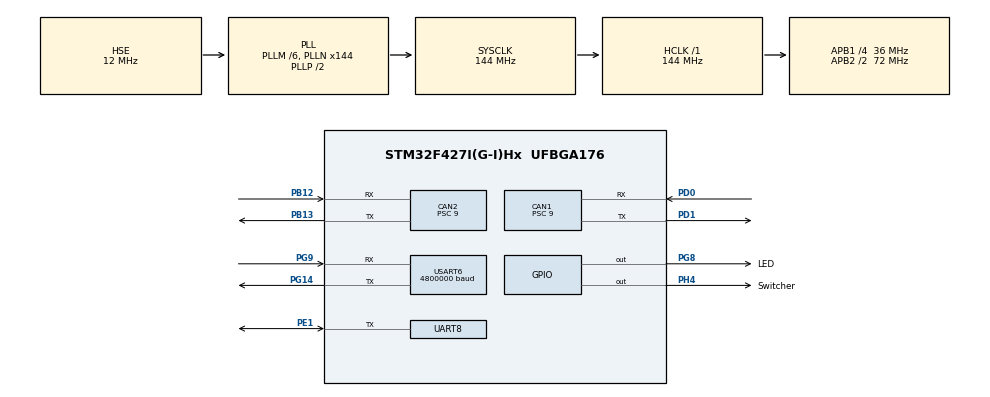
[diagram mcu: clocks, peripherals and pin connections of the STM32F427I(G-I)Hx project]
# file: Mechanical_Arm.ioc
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CAN1.BS1=CAN_BS1_2TQ
CAN1.CalculateBaudRate=1000000
CAN1.CalculateTimeBit=1000
CAN1.CalculateTimeQuantum=250.0
CAN1.Prescaler=9
CAN2.BS1=CAN_BS1_2TQ
CAN2.CalculateBaudRate=1000000
CAN2.CalculateTimeBit=1000
CAN2.CalculateTimeQuantum=250.0
CAN2.Prescaler=9
Dma.Request0=USART6_TX
Dma.Request1=USART6_RX
Dma.USART6_RX.1.Direction=DMA_PERIPH_TO_MEMORY
Dma.USART6_RX.1.FIFOMode=DMA_FIFOMODE_DISABLE
Dma.USART6_RX.1.Instance=DMA2_Stream2
Dma.USART6_RX.1.MemDataAlignment=DMA_MDATAALIGN_BYTE
Dma.USART6_RX.1.MemInc=DMA_MINC_ENABLE
Dma.USART6_RX.1.Mode=DMA_CIRCULAR
Dma.USART6_RX.1.PeriphDataAlignment=DMA_PDATAALIGN_BYTE
Dma.USART6_RX.1.PeriphInc=DMA_PINC_DISABLE
Dma.USART6_RX.1.Priority=DMA_PRIORITY_VERY_HIGH
Dma.USART6_TX.0.Direction=DMA_MEMORY_TO_PERIPH
Dma.USART6_TX.0.FIFOMode=DMA_FIFOMODE_DISABLE
Dma.USART6_TX.0.Instance=DMA2_Stream7
Dma.USART6_TX.0.MemDataAlignment=DMA_MDATAALIGN_BYTE
Dma.USART6_TX.0.MemInc=DMA_MINC_ENABLE
Dma.USART6_TX.0.Mode=DMA_NORMAL
Dma.USART6_TX.0.PeriphDataAlignment=DMA_PDATAALIGN_BYTE
Dma.USART6_TX.0.PeriphInc=DMA_PINC_DISABLE
Dma.USART6_TX.0.Priority=DMA_PRIORITY_VERY_HIGH
FREERTOS.Tasks01=defaultTask,0,128,StartDefaultTask,Default,NULL,Dynamic,NULL,NULL;Motor_Move_A1_A,2,128,Motor_Task_A1_A,Default,NULL,Dynamic,NULL,NULL;Motor_Move_A1_B,2,128,Motor_Task_A1_B,Default,NULL,Dynamic,NULL,NULL;Motor_Move_Sevo,2,128,Motor_Task_Sevo,Default,NULL,Dynamic,NULL,NULL;Motor_Move_R,-3,128,Motor_Task_R,Default,NULL,Dynamic,NULL,NULL;Switcher_Open,2,128,Switcher_Open_Task,Default,NULL,Dynamic,NULL,NULL
Mcu.Family=STM32F4
Mcu.Name=STM32F427I(G-I)Hx
Mcu.Package=UFBGA176
NVIC.CAN1_RX0_IRQn=true\:5\:0\:false\:false\:true\:true\:true\:true
NVIC.CAN2_RX0_IRQn=true\:5\:0\:false\:false\:true\:true\:true\:true
NVIC.DMA2_Stream2_IRQn=true\:5\:0\:false\:false\:true\:true\:false\:true
NVIC.DMA2_Stream7_IRQn=true\:5\:0\:false\:false\:true\:true\:false\:true
NVIC.PriorityGroup=NVIC_PRIORITYGROUP_4
NVIC.USART6_IRQn=true\:5\:0\:false\:false\:false\:true\:true\:true
PA13.Mode=Serial_Wire
PA13.Signal=SYS_JTMS-SWDIO
PA14.Mode=Serial_Wire
PA14.Signal=SYS_JTCK-SWCLK
PB12.Mode=CAN_Activate
PB12.Signal=CAN2_RX
PB13.Mode=CAN_Activate
PB13.Signal=CAN2_TX
PD0.Mode=CAN_Activate
PD0.Signal=CAN1_RX
PD1.Mode=CAN_Activate
PD1.Signal=CAN1_TX
PE1.Mode=Half_duplex(single_wire_mode)
PE1.Signal=UART8_TX
PG14.Mode=Asynchronous
PG14.Signal=USART6_TX
PG8.GPIO_Label=LED
PG8.Signal=GPIO_Output
PG9.Mode=Asynchronous
PG9.Signal=USART6_RX
PH0/OSC_IN.Mode=HSE-External-Oscillator
PH0/OSC_IN.Signal=RCC_OSC_IN
PH1/OSC_OUT.Mode=HSE-External-Oscillator
PH1/OSC_OUT.Signal=RCC_OSC_OUT
PH4.GPIO_Label=Switcher
PH4.Signal=GPIO_Output
ProjectManager.HeapSize=0x200
ProjectManager.StackSize=0x400
ProjectManager.TargetToolchain=SW4STM32
RCC.48MHZClocksFreq_Value=72000000
RCC.AHBFreq_Value=144000000
RCC.APB1CLKDivider=RCC_HCLK_DIV4
RCC.APB1Freq_Value=36000000
RCC.APB1TimFreq_Value=72000000
RCC.APB2CLKDivider=RCC_HCLK_DIV2
RCC.APB2Freq_Value=72000000
RCC.APB2TimFreq_Value=144000000
RCC.CortexFreq_Value=144000000
RCC.HCLKFreq_Value=144000000
RCC.HSE_VALUE=12000000
RCC.HSI_VALUE=16000000
RCC.LSE_VALUE=32768
RCC.PLLM=6
RCC.PLLN=144
RCC.PLLSourceVirtual=RCC_PLLSOURCE_HSE
RCC.SYSCLKFreq_VALUE=144000000
RCC.SYSCLKSource=RCC_SYSCLKSOURCE_PLLCLK
RCC.VCOOutputFreq_Value=288000000
UART8.BaudRate=57600
UART8.VirtualMode=Asynchronous
USART6.BaudRate=4800000
USART6.OverSampling=UART_OVERSAMPLING_8
USART6.VirtualMode=VM_ASYNC
VP_FREERTOS_VS_CMSIS_V1.Mode=CMSIS_V1
board=custom

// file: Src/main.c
/* USER CODE BEGIN Header */
/**
  ******************************************************************************
  * @file           : main.c
  * @brief          : Main program body
  ******************************************************************************
  * @attention
  *
  * Copyright (c) 2022 STMicroelectronics.
  * All rights reserved.
  *
  * This software is licensed under terms that can be found in the LICENSE file
  * in the root directory of this software component.
  * If no LICENSE file comes with this software, it is provided AS-IS.
  *
  ******************************************************************************
  */
/* USER CODE END Header */
#include "main.h"
#include "cmsis_os.h"
#include "can.h"
#include "dma.h"
#include "usart.h"
#include "gpio.h"

/* USER CODE BEGIN Includes */
#include "CAN_Operation.h"
#include "A1_Drive.h"
#include "Inverse_Mechanical_Calulation.h"
#include "PID_Controlor.h"
#include "M6020_PID_Controller.h"
#include "servo.h"

#define PI 3.1415926535f
/* USER CODE END Includes */

void SystemClock_Config(void);
void MX_FREERTOS_Init(void);

/* USER CODE BEGIN 0 */
int Stable = 0;
int Received = 0;

double Target_X,Target_Y;

void CAN_Recieved_Data_Dealer()
{
	char tag = CAN_Recieved_Message[0];
	if (tag == 'M'){
		int xx = (int16_t)(CAN_Recieved_Message[1]<<8 | CAN_Recieved_Message[2]);
		int yy = (int16_t)(CAN_Recieved_Message[3]<<8 | CAN_Recieved_Message[4]);
		int aa = (int16_t)(CAN_Recieved_Message[5]<<8 | CAN_Recieved_Message[6]);
		Angle_R = (double)aa;
		Switch_State = CAN_Recieved_Message[7];
		Start_Turn = 1;
		double x = (double)xx/1000.0f;
		double y = (double)yy/1000.0f;
		Target_X = x;
		Target_Y = y;
	}else if (tag == 'S'){
		Switch_State = (int16_t)(CAN_Recieved_Message[1]<<8 | CAN_Recieved_Message[2]);
	}else if (tag == 'T'){
		int Speed = (int16_t)(CAN_Recieved_Message[1]<<8 | CAN_Recieved_Message[2]);
		Base_Speed_Calculation(1,Speed);
		CAN_CMD_Current(Current[1],0,0,0);
	}else if (tag == 'C'){
		Stable = 1;
	}else if (tag == 'A'){
		int aa1 = (int16_t)(CAN_Recieved_Message[1]<<8 | CAN_Recieved_Message[2]);
		int aa2 = (int16_t)(CAN_Recieved_Message[3]<<8 | CAN_Recieved_Message[4]);
		int aa3 = (int16_t)(CAN_Recieved_Message[5]<<8 | CAN_Recieved_Message[6]);
		Theta1 = ((float)aa1/180.0f)*PI;
		Theta2 = ((float)aa2/180.0f)*PI;
		A1_Start_Move_A = 1;
		A1_Start_Move_B = 1;
		Servo_Goal_Position(1,aa3);
	}else if (tag == 'R') Received = 1;
}

/* USER CODE END 0 */

int main(void) {

	/* MCU Configuration--------------------------------------------------------*/

	/* Reset of all peripherals, Initializes the Flash interface and the Systick. */
	HAL_Init();

	/* Configure the system clock */
	SystemClock_Config();

	/* Initialize all configured peripherals */
	MX_GPIO_Init();
	MX_DMA_Init();
	MX_CAN1_Init();
	MX_CAN2_Init();
	MX_USART6_UART_Init();
	MX_UART8_Init();
	/* USER CODE BEGIN 2 */
	Usart6_TX_DMA_Init();
	USART6_Rx_Init();
	CAN2_Filter_Init();
	Tuner_Control_Init();

	M6020_Control_Init();

	HAL_GPIO_WritePin(LED_GPIO_Port, LED_Pin, GPIO_PIN_SET);
	//Servo_Led(1,1);
//	Servo_Torque(1,1);
//	int pos = (4095.0f/360.0f)*90.0f;
//	Servo_Goal_Position(1,pos);

	Received = 0;
	while (!Received) {
		CAN_Transmit_Message('P', 0, 0, 0, 0, 0x301);
		HAL_Delay(10);
	}

	Servo_Torque(1, 1);
	//Servo_Goal_Position(1,0);

	while (!Stable) {
		HAL_Delay(10);
	}

	HAL_Delay(100);
	for (int i = 1; i <= 10; i++) {
		A1_Motor_Multiple_Control(0, 0, 0, 0, 0);
		HAL_Delay(10);
		A1_Motor_Multiple_Control(1, 0, 0, 0, 0);
		HAL_Delay(10);
	}

	Set_Zero[0] = A1_State[0].Position;
	Set_Zero[1] = A1_State[1].Position;

	for (int i = 1; i <= 10; i++) {
		A1_Motor_Position_Control(0, Set_Zero[0]);
		HAL_Delay(10);
		A1_Motor_Position_Control(1, Set_Zero[1]);
		HAL_Delay(10);
	}

	HAL_Delay(1000);
//	float temp = -(PI/180.0f)*80.0f;
//	A1_Motor_Position_Control(0,temp);
//	HAL_Delay(5);
//	temp = (PI/180.0f)*90.0f;
//	A1_Motor_Position_Control(1,temp);
//	HAL_Delay(5);
//	int pos = -(4095.0f/360.0f)*90.0f;
//	Servo_Goal_Position(1,pos);

	HAL_GPIO_WritePin(LED_GPIO_Port, LED_Pin, GPIO_PIN_RESET);
	/* USER CODE END 2 */

	/* Call init function for freertos objects (in freertos.c) */
//  MX_FREERTOS_Init();
//  /* Start scheduler */
//  osKernelStart();

	/* We should never get here as control is now taken by the scheduler */
	/* Infinite loop */
	while (1) {

	}
}
void SystemClock_Config(void)
{
  RCC_OscInitTypeDef RCC_OscInitStruct = {0};
  RCC_ClkInitTypeDef RCC_ClkInitStruct = {0};

  /** Configure the main internal regulator output voltage
  */
  __HAL_RCC_PWR_CLK_ENABLE();
  __HAL_PWR_VOLTAGESCALING_CONFIG(PWR_REGULATOR_VOLTAGE_SCALE1);
  /** Initializes the RCC Oscillators according to the specified parameters
  * in the RCC_OscInitTypeDef structure.
  */
  RCC_OscInitStruct.OscillatorType = RCC_OSCILLATORTYPE_HSE;
  RCC_OscInitStruct.HSEState = RCC_HSE_ON;
  RCC_OscInitStruct.PLL.PLLState = RCC_PLL_ON;
  RCC_OscInitStruct.PLL.PLLSource = RCC_PLLSOURCE_HSE;
  RCC_OscInitStruct.PLL.PLLM = 6;
  RCC_OscInitStruct.PLL.PLLN = 144;
  RCC_OscInitStruct.PLL.PLLP = RCC_PLLP_DIV2;
  RCC_OscInitStruct.PLL.PLLQ = 4;
  if (HAL_RCC_OscConfig(&RCC_OscInitStruct) != HAL_OK)
  {
    Error_Handler();
  }
  /** Initializes the CPU, AHB and APB buses clocks
  */
  RCC_ClkInitStruct.ClockType = RCC_CLOCKTYPE_HCLK|RCC_CLOCKTYPE_SYSCLK
                              |RCC_CLOCKTYPE_PCLK1|RCC_CLOCKTYPE_PCLK2;
  RCC_ClkInitStruct.SYSCLKSource = RCC_SYSCLKSOURCE_PLLCLK;
  RCC_ClkInitStruct.AHBCLKDivider = RCC_SYSCLK_DIV1;
  RCC_ClkInitStruct.APB1CLKDivider = RCC_HCLK_DIV4;
  RCC_ClkInitStruct.APB2CLKDivider = RCC_HCLK_DIV2;

  if (HAL_RCC_ClockConfig(&RCC_ClkInitStruct, FLASH_LATENCY_4) != HAL_OK)
  {
    Error_Handler();
  }
}

void Error_Handler(void)
{
  __disable_irq();
  while (1)
  {
  }
}
